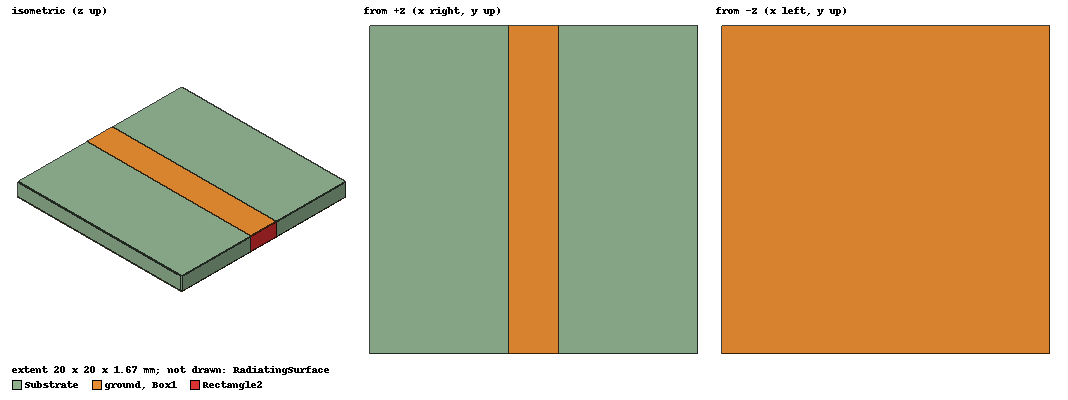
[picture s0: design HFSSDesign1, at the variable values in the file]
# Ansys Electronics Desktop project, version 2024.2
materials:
  vacuum: permittivity=1
  copper: permeability=0.999991 conductivity=58000000
  FR4_epoxy: permittivity=4.4 dielectric_loss_tangent=0.02

design HFSSDesign1 (HFSS, HFSS Modal Network, model units mm)
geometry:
  Substrate [FR4_epoxy] = box(corner=(-10mm, 0mm, 0mm), size=(20mm, 20mm, -1.6mm))
  ground [copper] = box(corner=(-10mm, 0mm, -1.6mm), size=(20mm, 20mm, -0.035mm))
  Box1 [copper] = box(corner=(-1.53mm, 0mm, 0mm), size=(3.06mm, 20mm, 0.035mm))
  Rectangle1 = rectangle(corner=(-1.53mm, 0mm, 0mm), z_size=-1.6mm, x_size=3.06mm)
  Rectangle2 = rectangle(corner=(-1.53mm, 20mm, 0mm), z_size=-1.6mm, x_size=3.06mm)
  RadiatingSurface [vacuum] = region(absolute_offset=33.333333mm on all sides)
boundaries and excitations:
  Open1: Radiation Objects=RadiatingSurface
  1: Lumped Port Objects=Rectangle1 LumpedPortType=Modal Modes{Mode1{IntLine{(0, 0, -1.6) -> (0, 0, 0)} CharImp=Zpi RenormImp=50ohm}} Impedance=50ohm
  2: Lumped Port Objects=Rectangle2 LumpedPortType=Modal Modes{Mode1{IntLine{(0, 20, -1.6) -> (0, 20, 0)} CharImp=Zpi RenormImp=50ohm}} Impedance=50ohm
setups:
  Setup1: HfssDriven MultipleAdaptiveFreqsSetup{Low=1GHz High=10GHz} MaxDeltaS=0.02 MaximumPasses=10 MinimumPasses=1 MinimumConvergedPasses=1 PercentRefinement=30 BasisOrder=1 PortAccuracy=2 DrivenSolverType="Direct Solver"
    sweep Sweep: 1GHz to 10GHz, 401 points; Type=Interpolating InterpTolerance=0.5 InterpMaxSolns=250 InterpUsePortImped=false PassivityErrorTolerance=0.0001
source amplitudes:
  1:1: 1W 0deg
  2:1: 0W 0deg
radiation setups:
  3D: Infinite Sphere Theta=0deg..180deg step 2deg Phi=-180deg..180deg step 2deg
  Elevation: Infinite Sphere Theta=-180deg..180deg step 1deg Phi=0deg..90deg step 90deg
  Azimuth: Infinite Sphere Theta=90deg..90deg step 0deg Phi=-180deg..180deg step 1deg
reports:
  S Parameter Plot 1: dB(S(1,1)), dB(S(2,1)) vs Freq on Setup1 : Sweep; markers m1 at 5.77GHz, MX1 at x=1e+09
  Antenna Params Table 1: PeakDirectivity, RadiatedPower, AcceptedPower, IncidentPower vs Freq on Setup1 : LastAdaptive
